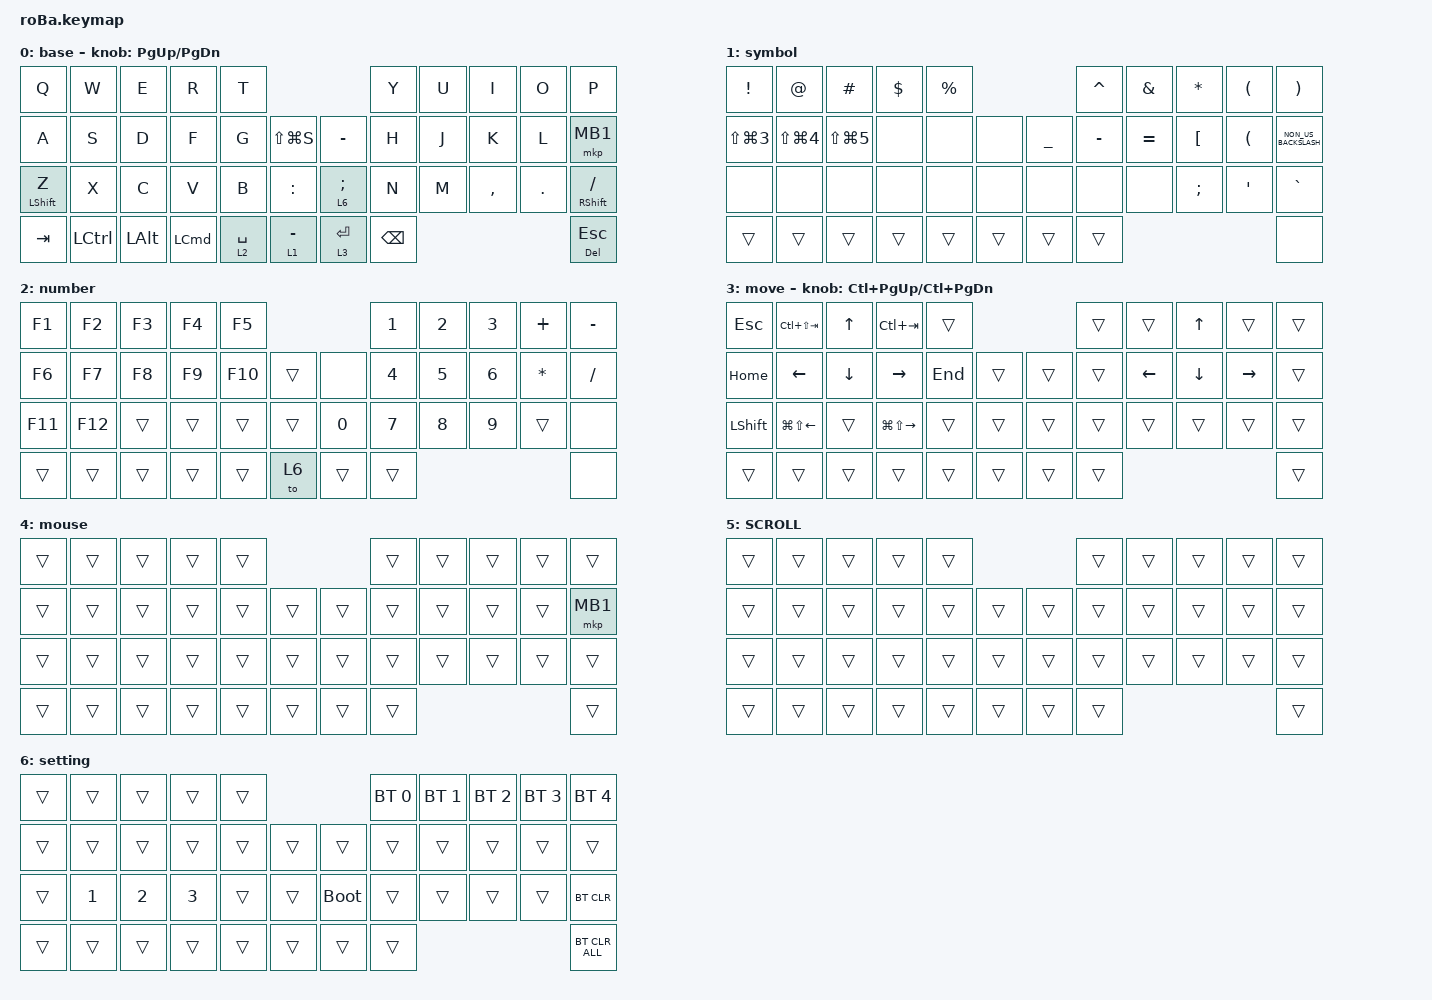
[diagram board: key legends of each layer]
#include <behaviors.dtsi>
#include <dt-bindings/zmk/bt.h>
#include <dt-bindings/zmk/keys.h>
#include <dt-bindings/zmk/pointing.h>

&mt {
    flavor = "balanced";
    quick-tap-ms = <0>;
};

&trackball {
    automouse-layer = <4>;
    scroll-layers = <5>;

    // arrows {
    //     layers = <3>;
    //     bindings =
    //         <&kp RIGHT_ARROW>,
    //         <&kp LEFT_ARROW>,
    //         <&kp UP_ARROW>,
    //         <&kp DOWN_ARROW>;
    //     tick = <10>;
    //     wait-ms = <5>;
    //     tap-ms = <5>;
    // };
};

/ {
    combos {
        compatible = "zmk,combos";

        Scroll {
            bindings = <&mo 5>;
            key-positions = <19 20>;
        };
    };

    macros {
        macIME: to_layer_0 {
            compatible = "zmk,behavior-macro";
            #binding-cells = <0>;
            bindings =
                <&kp RIGHT_CONTROL>,
                <&macro_tap>,
                <&kp SPACE>,
                <&macro_release>,
                <&kp LEFT_CONTROL>;

            label = "TO_LAYER_0";
        };
    };

    behaviors {
        lt_to_layer_0: lt_to_layer_0 {
            compatible = "zmk,behavior-hold-tap";
            label = "LAYER_TAP_TO_0";
            bindings = <&mo>, <&macIME>;

            #binding-cells = <2>;
            tapping-term-ms = <200>;
        };
    };

    keymap {
        compatible = "zmk,keymap";

        base {
            bindings = <
&kp Q             &kp W             &kp E         &kp R             &kp T                                            &kp Y          &kp U  &kp I      &kp O    &kp P
&kp A             &kp S             &kp D         &kp F             &kp G        &kp LS(LG(S))      &kp MINUS        &kp H          &kp J  &kp K      &kp L    &mkp MB1
&mt LEFT_SHIFT Z  &kp X             &kp C         &kp V             &kp B        &kp COLON          &lt 6 SEMICOLON  &kp N          &kp M  &kp COMMA  &kp DOT  &mt RIGHT_SHIFT SLASH
&kp TAB           &kp LEFT_CONTROL  &kp LEFT_ALT  &kp LEFT_COMMAND  &lt 2 SPACE  &lt 1 MINUS        &lt 3 ENTER      &kp BACKSPACE                             &mt DELETE ESCAPE
            >;

            sensor-bindings = <&inc_dec_kp PG_UP PAGE_DOWN>;
        };

        symbol {
            bindings = <
&kp EXCLAMATION       &kp AT_SIGN           &kp HASH              &kp DOLLAR  &kp PERCENT                              &kp CARET  &kp AMPERSAND  &kp ASTERISK      &kp LEFT_PARENTHESIS  &kp RIGHT_PARENTHESIS
&kp LS(LG(NUMBER_3))  &kp LS(LG(NUMBER_4))  &kp LS(LG(NUMBER_5))  &none       &none        &none       &kp UNDERSCORE  &kp MINUS  &kp EQUAL      &kp LEFT_BRACKET  &kp LEFT_PARENTHESIS  &kp NON_US_BACKSLASH
&none                 &none                 &none                 &none       &none        &none       &none           &none      &none          &kp SEMICOLON     &kp SQT               &kp GRAVE
&trans                &trans                &trans                &trans      &trans       &trans      &trans          &trans                                                            &none
            >;
        };

        number {
            bindings = <
&kp F1   &kp F2   &kp F3  &kp F4  &kp F5                             &kp NUMBER_1  &kp NUMBER_2  &kp N3        &kp PLUS      &kp MINUS
&kp F6   &kp F7   &kp F8  &kp F9  &kp F10  &trans      &none         &kp NUMBER_4  &kp NUMBER_5  &kp NUMBER_6  &kp ASTERISK  &kp SLASH
&kp F11  &kp F12  &trans  &trans  &trans   &trans      &kp NUMBER_0  &kp NUMBER_7  &kp NUMBER_8  &kp NUMBER_9  &trans        &none
&trans   &trans   &trans  &trans  &trans   &to 6       &trans        &trans                                                  &none
            >;
        };

        move {
            bindings = <
&kp ESCAPE      &kp LC(LS(TAB))         &kp UP_ARROW    &kp LC(TAB)              &trans                       &trans  &trans          &kp UP_ARROW    &trans     &trans
&kp HOME        &kp LEFT_ARROW          &kp DOWN_ARROW  &kp RIGHT_ARROW          &kp END  &trans      &trans  &trans  &kp LEFT_ARROW  &kp DOWN_ARROW  &kp RIGHT  &trans
&kp LEFT_SHIFT  &kp LG(LS(LEFT_ARROW))  &trans          &kp LG(LS(RIGHT_ARROW))  &trans   &trans      &trans  &trans  &trans          &trans          &trans     &trans
&trans          &trans                  &trans          &trans                   &trans   &trans      &trans  &trans                                             &trans
            >;

            sensor-bindings = <&inc_dec_kp LC(PAGE_UP) LC(PAGE_DOWN)>;
        };

        mouse {
            bindings = <
&trans  &trans  &trans  &trans  &trans                      &trans  &trans  &trans  &trans  &trans
&trans  &trans  &trans  &trans  &trans  &trans      &trans  &trans  &trans  &trans  &trans  &mkp MB1
&trans  &trans  &trans  &trans  &trans  &trans      &trans  &trans  &trans  &trans  &trans  &trans
&trans  &trans  &trans  &trans  &trans  &trans      &trans  &trans                          &trans
            >;
        };

        SCROLL {
            bindings = <
&trans  &trans  &trans  &trans  &trans                      &trans  &trans  &trans  &trans  &trans
&trans  &trans  &trans  &trans  &trans  &trans      &trans  &trans  &trans  &trans  &trans  &trans
&trans  &trans  &trans  &trans  &trans  &trans      &trans  &trans  &trans  &trans  &trans  &trans
&trans  &trans  &trans  &trans  &trans  &trans      &trans  &trans                          &trans
            >;
        };

        setting {
            bindings = <
&trans  &trans        &trans        &trans        &trans                           &bt BT_SEL 0  &bt BT_SEL 1  &bt BT_SEL 2  &bt BT_SEL 3  &bt BT_SEL 4
&trans  &trans        &trans        &trans        &trans  &trans      &trans       &trans        &trans        &trans        &trans        &trans
&trans  &kp NUMBER_1  &kp NUMBER_2  &kp NUMBER_3  &trans  &trans      &bootloader  &trans        &trans        &trans        &trans        &bt BT_CLR
&trans  &trans        &trans        &trans        &trans  &trans      &trans       &trans                                                  &bt BT_CLR_ALL
            >;
        };
    };
};
